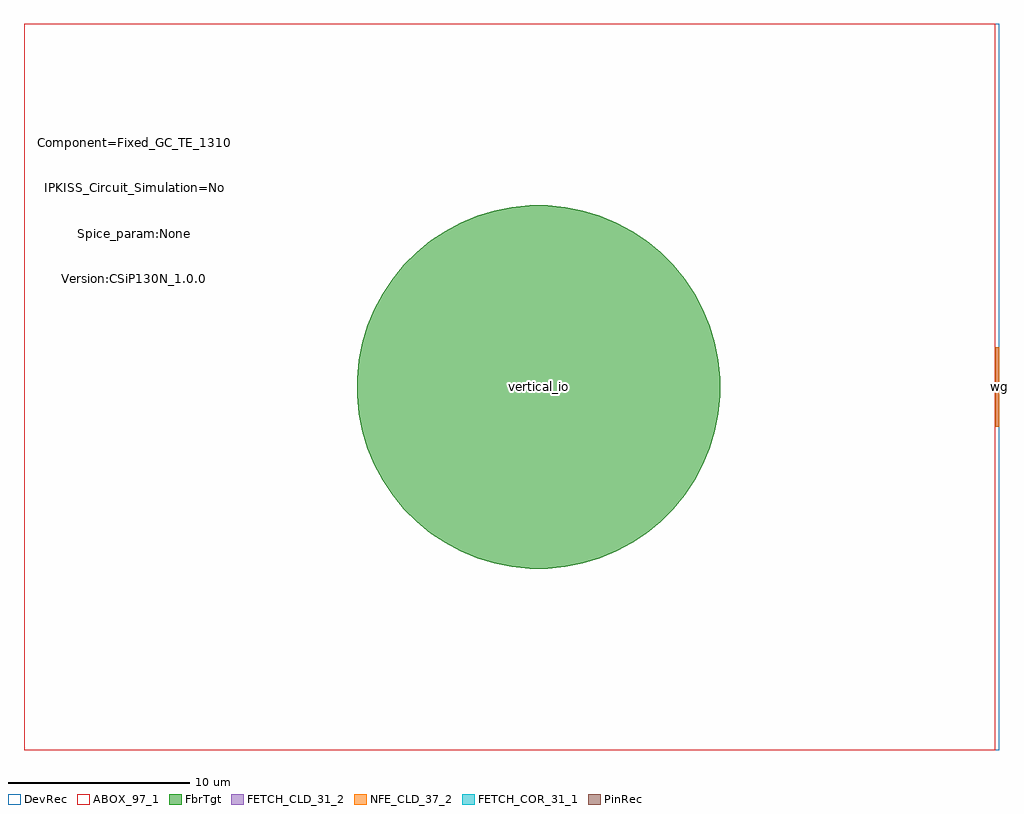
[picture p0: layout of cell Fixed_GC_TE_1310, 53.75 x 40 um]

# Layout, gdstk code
import gdstk
lib = gdstk.Library(unit=1e-6, precision=1e-09)
def R(c, l, rs):  # rectangles x0, y0, x1, y1
    for r in rs: c.add(gdstk.rectangle(r[:2], r[2:], *l))
def P(c, l, *ps):  # polygons
    for p in ps: c.add(gdstk.Polygon(p, *l))
FETCH_COR_31_1 = (31, 1)
FETCH_CLD_31_2 = (31, 2)
NFE_CLD_37_2 = (37, 2)
PinRec = (95, 0)
ABOX_97_1 = (97, 1)
FbrTgt = (1000, 0)
DevRec = (1001, 0)

fixed_gc_te_1310 = lib.new_cell('Fixed_GC_TE_1310')
R(fixed_gc_te_1310, FETCH_COR_31_1, [(-0.2,-0.19,0,0.19)])
R(fixed_gc_te_1310, FETCH_CLD_31_2, [(-0.2,-2.19,0,2.19)])
R(fixed_gc_te_1310, NFE_CLD_37_2, [(-0.2,-2.19,0,2.19)])
R(fixed_gc_te_1310, ABOX_97_1, [(-53.7,-20,-0.2,20)])
P(fixed_gc_te_1310, FbrTgt, [(-25.851,-10),(-26.829,-9.904),(-27.793,-9.712),(-28.733,-9.427),(-29.641,-9.051),(-30.507,-8.588),(-31.324,-8.042),(-32.084,-7.418),(-32.778,-6.724),(-33.402,-5.964),(-33.948,-5.147),(-34.411,-4.281),(-34.787,-3.373),(-35.072,-2.433),(-35.264,-1.469),(-35.36,-0.491),(-35.36,0.491),(-35.264,1.469),(-35.072,2.433),(-34.787,3.373),(-34.411,4.281),(-33.948,5.147),(-33.402,5.964),(-32.778,6.724),(-32.084,7.418),(-31.324,8.042),(-30.507,8.588),(-29.641,9.051),(-28.733,9.427),(-27.793,9.712),(-26.829,9.904),(-25.851,10),(-24.869,10),(-23.891,9.904),(-22.927,9.712),(-21.987,9.427),(-21.079,9.051),(-20.213,8.588),(-19.396,8.042),(-18.636,7.418),(-17.942,6.724),(-17.318,5.964),(-16.772,5.147),(-16.309,4.281),(-15.933,3.373),(-15.648,2.433),(-15.456,1.469),(-15.36,0.491),(-15.36,-0.491),(-15.456,-1.469),(-15.648,-2.433),(-15.933,-3.373),(-16.309,-4.281),(-16.772,-5.147),(-17.318,-5.964),(-17.942,-6.724),(-18.636,-7.418),(-19.396,-8.042),(-20.213,-8.588),(-21.079,-9.051),(-21.987,-9.427),(-22.927,-9.712),(-23.891,-9.904),(-24.869,-10)])
R(fixed_gc_te_1310, DevRec, [(-53.7,-20,0,20)])
fixed_gc_te_1310.add(gdstk.FlexPath([(-0.05,0),(0.05,0)], 0.38, ends="flush", simple_path=True, layer=95, datatype=0))  # PinRec
fixed_gc_te_1310.add(gdstk.Label('wg', (0,0), layer=95, texttype=0))
fixed_gc_te_1310.add(gdstk.Label('vertical_io', (-25.36,0), layer=1000, texttype=0))
fixed_gc_te_1310.add(gdstk.Label('Version:CSiP130N_1.0.0', (-47.62,5.97), layer=1001, texttype=0))
fixed_gc_te_1310.add(gdstk.Label('IPKISS_Circuit_Simulation=None', (-47.62,10.97), layer=1001, texttype=0))
fixed_gc_te_1310.add(gdstk.Label('Component=Fixed_GC_TE_1310', (-47.62,13.47), layer=1001, texttype=0))
fixed_gc_te_1310.add(gdstk.Label('Spice_param:None', (-47.62,8.47), layer=1001, texttype=0))

lib.write_gds('Fixed_GC_TE_1310.gds')
